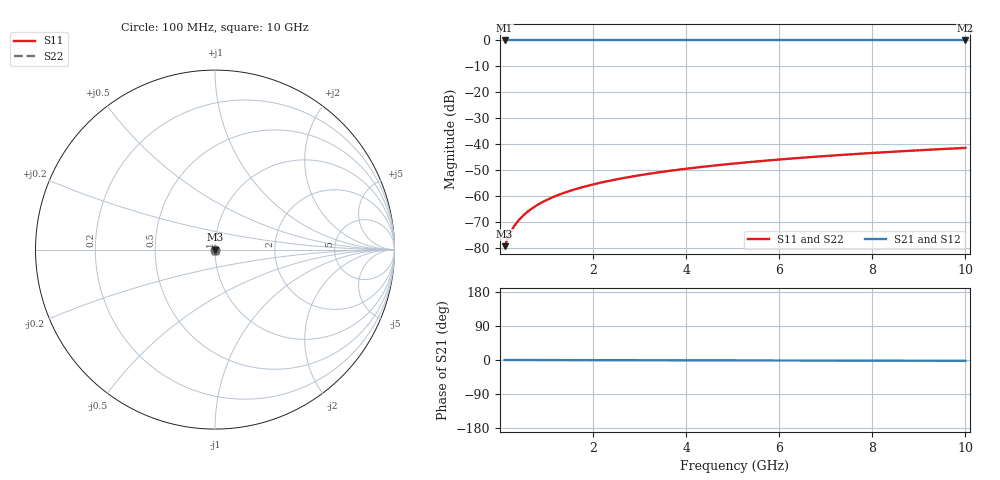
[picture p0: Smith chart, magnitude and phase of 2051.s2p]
# Hz S RI R 50.00
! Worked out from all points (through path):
!   100 points, 100 MHz to 10 GHz, reference 50 ohm
!   highest |S21| = 0.00 dB at 100 MHz (marker M1); lowest = 0.0 dB at 10 GHz (marker M2)
!   lowest |S11| = -79.2 dB at 100 MHz (marker M3), VSWR 1.00, Z = 50 - j0.00847 ohm
!   |S11| at or under -10 dB: start of sweep to end of sweep
!   |S22| runs from -79.2 to -41.3 dB; largest |S21 - S12| = 0
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1e8  7.06e-05 -8.47e-05  0.9999 -0.000374  0.9999 -0.000374  7.06e-05 -8.47e-05
2e8  7.08e-05 -0.000169  0.9999 -0.000748  0.9999 -0.000748  7.08e-05 -0.000169
3e8  7.08e-05 -0.000254  0.9999 -0.00112  0.9999 -0.00112  7.08e-05 -0.000254
4e8  7.06e-05 -0.000339  0.9999 -0.0015  0.9999 -0.0015  7.06e-05 -0.000339
5e8  7.04e-05 -0.000423  0.9999 -0.00187  0.9999 -0.00187  7.04e-05 -0.000423
6e8  7e-05 -0.000508  0.9999 -0.00224  0.9999 -0.00224  7e-05 -0.000508
7e8  6.96e-05 -0.000593  0.9999 -0.00262  0.9999 -0.00262  6.96e-05 -0.000593
8e8  6.91e-05 -0.000678  0.9999 -0.00299  0.9999 -0.00299  6.91e-05 -0.000678
9e8  6.85e-05 -0.000762  0.9999 -0.00337  0.9999 -0.00337  6.85e-05 -0.000762
1.1e9  6.71e-05 -0.000932  0.9999 -0.00412  0.9999 -0.00412  6.71e-05 -0.000932
1.4e9  6.45e-05 -0.00119  0.9999 -0.00524  0.9999 -0.00524  6.45e-05 -0.00119
1.8e9  6.01e-05 -0.00153  0.9999 -0.00674  0.9999 -0.00674  6.01e-05 -0.00153
2.1e9  5.61e-05 -0.00178  0.9999 -0.00786  0.9999 -0.00786  5.61e-05 -0.00178
2.5e9  4.98e-05 -0.00212  0.9999 -0.00936  0.9999 -0.00936  4.98e-05 -0.00212
2.9e9  4.24e-05 -0.00246  0.9999 -0.0109  0.9999 -0.0109  4.24e-05 -0.00246
3.4e9  3.17e-05 -0.00289  0.9998 -0.0127  0.9998 -0.0127  3.17e-05 -0.00289
4.2e9  1.13e-05 -0.00357  0.9998 -0.0158  0.9998 -0.0158  1.13e-05 -0.00357
5.1e9  -1.68e-05 -0.00435  0.9997 -0.0191  0.9997 -0.0191  -1.68e-05 -0.00435
5.9e9  -4.62e-05 -0.00503  0.9996 -0.0222  0.9996 -0.0222  -4.62e-05 -0.00503
6.7e9  -7.98e-05 -0.00572  0.9996 -0.0252  0.9996 -0.0252  -7.98e-05 -0.00572
8.4e9  -0.000165 -0.00719  0.9994 -0.0317  0.9994 -0.0317  -0.000165 -0.00719
1e10  -0.000263 -0.00857  0.9991 -0.0377  0.9991 -0.0377  -0.000263 -0.00857
